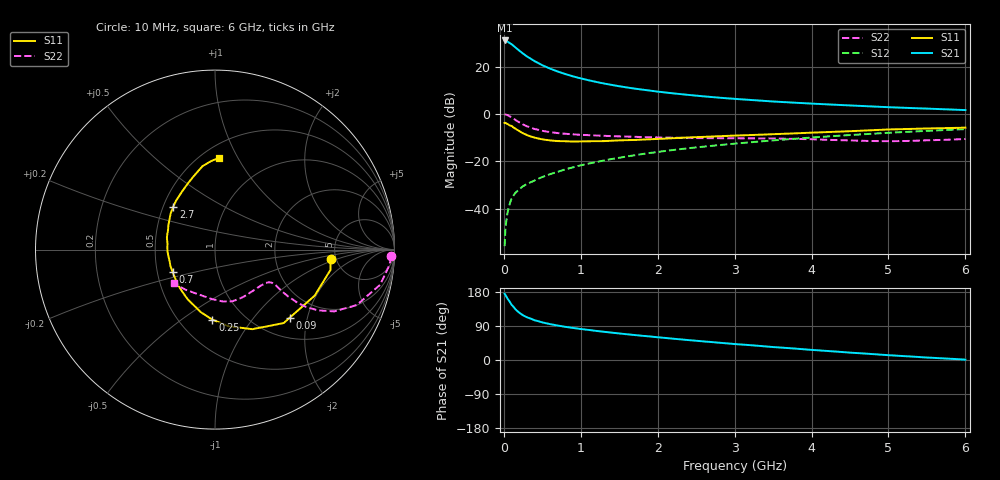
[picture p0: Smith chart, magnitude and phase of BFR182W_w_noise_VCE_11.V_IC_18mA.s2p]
! Infineon Technologies  Discrete & RF Semiconductors
! BFR182W
! VCE =  11. V,  IC =  18 mA
! Common Emitter S-Parameters:  Jan 2017
# GHz  S  MA  R  50
!  f  S11  S21  S12  S22
! GHz  MAG  ANG  MAG  ANG  MAG  ANG  MAG  ANG
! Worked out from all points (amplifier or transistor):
!   77 points, 10 MHz to 6 GHz, reference 50 ohm
!   highest |S21| = 31.1 dB at 10 MHz (marker M1)
!   |S21| within 3 dB of that: start of sweep to 153 MHz
!   unconditionally stable (mu >= 1): 883.5 MHz to 2.428 GHz
!   at 130 MHz: K = 0.40, MSG = 31.5 dB, |S12| = -34.3 dB
!   at 2.2 GHz: K = 1.01, MAG = 11.3 dB, |S12| = -15.2 dB
!   at 6 GHz: K = 0.87, MSG = 4.0 dB, |S12| = -6.4 dB
!   lowest NFmin = 1.34 dB at 450 MHz
!   S11 on the Smith chart (normalised r, x): 10 MHz: 4.49, -0.82; 90 MHz: 1.41, -1.57; 250 MHz: 0.72, -0.66; 700 MHz: 0.60, -0.16; 2.7 GHz: 0.56, +0.30; 6 GHz: 0.61, +0.84
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0.01  0.646 -4.7  35.83 174.8  0.0016 86.5  0.9826 -2.2
0.02  0.6531 -10.0  35.76 171.8  0.0035 84.6  0.9758 -5.0
0.05  0.612 -24.7  33.85 161.3  0.0084 75.9  0.9411 -12.0
0.09  0.5634 -42.2  30.51 149.3  0.0146 71.9  0.8642 -19.4
0.1  0.5602 -46.9  29.91 145.9  0.0162 71.4  0.8474 -21.4
0.15  0.49 -64.8  25.6 133.9  0.0214 66.2  0.748 -27.4
0.2  0.4342 -79.8  21.87 124.9  0.0255 65.2  0.6646 -30.6
0.25  0.3908 -92.1  18.9 117.8  0.0297 63.2  0.5995 -32.2
0.3  0.358 -102.6  16.46 112.7  0.0329 63.7  0.5479 -32.8
0.4  0.3161 -118.8  13.06 104.8  0.0392 65.2  0.4811 -32.6
0.5  0.2907 -132.1  10.73 99.2  0.0464 65.9  0.4399 -31.9
0.6  0.2755 -142.9  9.111 94.7  0.0533 67.3  0.4128 -31.1
0.7  0.2671 -151.9  7.891 90.9  0.0598 68.7  0.3942 -30.5
0.9  0.2611 -166.3  6.226 84.6  0.0744 69.3  0.3708 -30.2
1.1  0.2645 -177.5  5.166 79.4  0.0889 70.2  0.3564 -30.8
1.5  0.2763 165.8  3.856 70.1  0.1185 69.3  0.3356 -34.1
2.1  0.3015 147.7  2.846 58.2  0.165 66.6  0.3164 -43.4
2.7  0.3328 134.4  2.28 47.4  0.2117 62.9  0.3077 -55.4
3.1  0.3531 126.3  2.033 40.7  0.2434 59.9  0.3051 -63.4
4.1  0.4076 110.0  1.626 25.3  0.3252 51.8  0.2882 -83.7
5.1  0.4743 97.3  1.37 11.5  0.4067 42.6  0.2663 -113.1
6  0.5128 87.3  1.208 1.0  0.4775 33.7  0.2956 -140.3
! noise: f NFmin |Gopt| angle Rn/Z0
0.45  1.34  0.07  174  0.15
0.9  1.41  0.08  179  0.15
1.9  1.93  0.27  -144  0.15
2.4  2.18  0.27  -129  0.24
